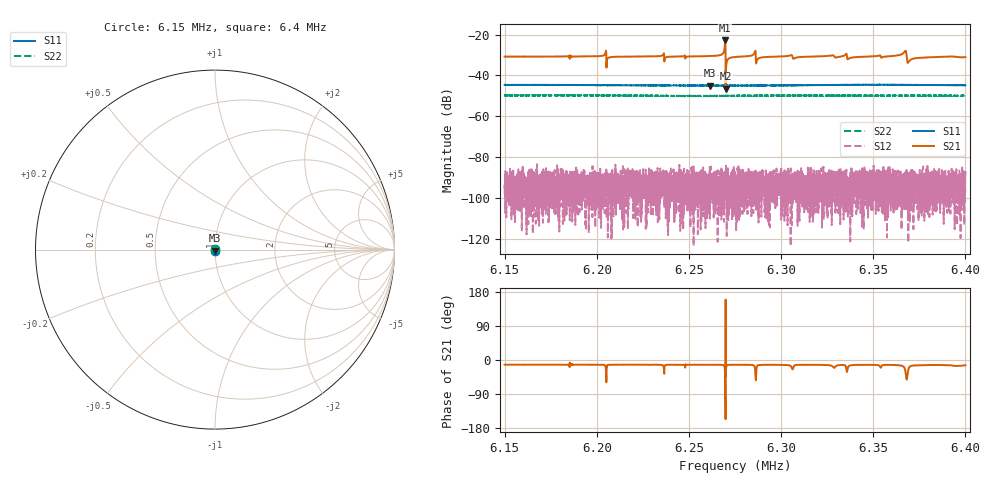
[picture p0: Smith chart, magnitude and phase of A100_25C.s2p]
!CETC41,AV3656A,ZGL00048,1.3.2
!Calibration ON (Full Solt 2-Port(Omit Isolation))
!Measurements: S11 S21 S12 S22
!2025-04-22 21:00
# Hz  S  dB  R 50.000
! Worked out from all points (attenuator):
!   6401 points, 6.15 MHz to 6.4 MHz, reference 50 ohm
!   highest |S21| = -22.88 dB at 6.2697 MHz (marker M1); lowest = -46.5 dB at 6.2699 MHz (marker M2)
!   lowest |S11| = -45.0 dB at 6.2612 MHz (marker M3), VSWR 1.01, Z = 50 - j0.56 ohm
!   |S11| at or under -10 dB: start of sweep to end of sweep
!   |S22| runs from -50.2 to -49.6 dB; largest |S21 - S12| = 0.072
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6150000  -44.63 -92.7  -30.79 -12.4  -95.99 -169.9  -49.76 97.9
6191680  -44.74 -93.8  -30.70 -12.4  -89.65 38.5  -49.80 99.3
6203906  -44.78 -93.7  -30.12 -12.8  -100.04 -100.3  -49.80 99.1
6206445  -44.80 -93.8  -31.29 -12.8  -88.50 29.3  -49.78 98.7
6233359  -44.92 -93.6  -30.57 -12.6  -94.45 146.4  -50.03 98.5
6261211  -45.02 -93.0  -30.51 -12.6  -88.15 76.5  -50.00 97.6
6266992  -44.96 -92.6  -30.04 -12.7  -88.86 21.7  -49.97 97.5
6268594  -44.98 -92.8  -29.12 -13.3  -96.42 -151.5  -49.98 97.9
6269727  -44.97 -92.6  -22.88 -69.2  -90.32 145.4  -49.92 97.8
6269922  -44.93 -92.4  -46.53 159.4  -95.70 83.0  -49.90 97.4
6271133  -44.95 -92.7  -32.10 -13.3  -98.70 -41.0  -49.94 97.5
6275000  -44.96 -92.5  -30.99 -12.6  -97.05 118.0  -49.95 97.3
6285000  -44.96 -92.5  -29.77 -13.8  -94.88 35.5  -50.00 97.9
6287578  -44.90 -92.5  -31.78 -13.7  -87.57 41.4  -49.87 97.2
6304766  -44.82 -92.1  -30.25 -14.7  -91.27 114.3  -49.80 97.7
6307539  -44.79 -92.2  -31.47 -13.8  -100.60 30.5  -49.92 97.8
6316680  -44.77 -92.2  -30.76 -12.7  -88.71 134.7  -49.80 97.4
6358359  -44.58 -92.9  -30.63 -12.9  -102.88 95.2  -49.82 99.0
6366797  -44.66 -92.9  -28.67 -19.5  -91.29 128.6  -49.94 99.2
6369570  -44.62 -93.0  -32.95 -18.8  -91.12 2.4  -49.89 99.9
6374609  -44.67 -92.9  -31.43 -14.0  -91.16 82.0  -49.96 99.9
6400000  -44.80 -93.0  -31.04 -13.9  -89.17 120.8  -49.98 100.7
